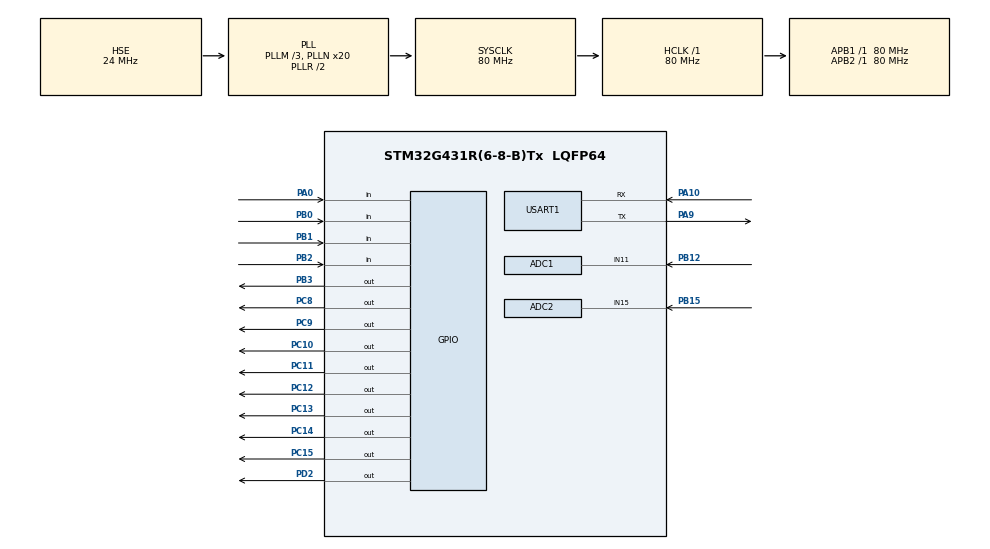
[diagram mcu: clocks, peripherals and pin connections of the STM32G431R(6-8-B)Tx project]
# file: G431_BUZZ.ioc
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ADC1.Channel-0\#ChannelRegularConversion=ADC_CHANNEL_11
ADC1.NbrOfConversionFlag=1
ADC1.OffsetNumber-0\#ChannelRegularConversion=ADC_OFFSET_NONE
ADC1.Rank-0\#ChannelRegularConversion=1
ADC1.SamplingTime-0\#ChannelRegularConversion=ADC_SAMPLETIME_640CYCLES_5
ADC1.master=1
ADC2.Channel-0\#ChannelRegularConversion=ADC_CHANNEL_15
ADC2.NbrOfConversionFlag=1
ADC2.OffsetNumber-0\#ChannelRegularConversion=ADC_OFFSET_NONE
ADC2.Rank-0\#ChannelRegularConversion=1
ADC2.SamplingTime-0\#ChannelRegularConversion=ADC_SAMPLETIME_640CYCLES_5
Mcu.Family=STM32G4
Mcu.Name=STM32G431R(6-8-B)Tx
Mcu.Package=LQFP64
NVIC.PriorityGroup=NVIC_PRIORITYGROUP_4
NVIC.TIM6_DAC_IRQn=true\:0\:0\:false\:false\:true\:false\:true\:true
PA0.Signal=GPIO_Input
PA10.Mode=Asynchronous
PA10.Signal=USART1_RX
PA13.Mode=Serial_Wire
PA13.Signal=SYS_JTMS-SWDIO
PA14.Mode=Serial_Wire
PA14.Signal=SYS_JTCK-SWCLK
PA9.Mode=Asynchronous
PA9.Signal=USART1_TX
PB0.Signal=GPIO_Input
PB1.Signal=GPIO_Input
PB12.Mode=IN11-Single-Ended
PB12.Signal=ADC1_IN11
PB15.Mode=IN15-Single-Ended
PB15.Signal=ADC2_IN15
PB2.Signal=GPIO_Input
PB3.PinState=GPIO_PIN_SET
PB3.Signal=GPIO_Output
PC10.PinState=GPIO_PIN_SET
PC10.Signal=GPIO_Output
PC11.PinState=GPIO_PIN_SET
PC11.Signal=GPIO_Output
PC12.PinState=GPIO_PIN_SET
PC12.Signal=GPIO_Output
PC13.PinState=GPIO_PIN_SET
PC13.Signal=GPIO_Output
PC14-OSC32_IN.PinState=GPIO_PIN_SET
PC14-OSC32_IN.Signal=GPIO_Output
PC15-OSC32_OUT.PinState=GPIO_PIN_SET
PC15-OSC32_OUT.Signal=GPIO_Output
PC8.PinState=GPIO_PIN_SET
PC8.Signal=GPIO_Output
PC9.PinState=GPIO_PIN_SET
PC9.Signal=GPIO_Output
PD2.PinState=GPIO_PIN_SET
PD2.Signal=GPIO_Output
PF0-OSC_IN.Mode=HSE-External-Oscillator
PF0-OSC_IN.Signal=RCC_OSC_IN
PF1-OSC_OUT.Mode=HSE-External-Oscillator
PF1-OSC_OUT.Signal=RCC_OSC_OUT
ProjectManager.HeapSize=0x200
ProjectManager.StackSize=0x400
ProjectManager.TargetToolchain=MDK-ARM V5
RCC.ADC12Freq_Value=80000000
RCC.AHBFreq_Value=80000000
RCC.APB1Freq_Value=80000000
RCC.APB1TimFreq_Value=80000000
RCC.APB2Freq_Value=80000000
RCC.APB2TimFreq_Value=80000000
RCC.CortexFreq_Value=80000000
RCC.EXTERNAL_CLOCK_VALUE=12288000
RCC.HCLKFreq_Value=80000000
RCC.HSE_VALUE=24000000
RCC.HSI48_VALUE=48000000
RCC.HSI_VALUE=16000000
RCC.LSE_VALUE=32768
RCC.PLLM=RCC_PLLM_DIV3
RCC.PLLN=20
RCC.PLLSourceVirtual=RCC_PLLSOURCE_HSE
RCC.SYSCLKFreq_VALUE=80000000
RCC.SYSCLKSource=RCC_SYSCLKSOURCE_PLLCLK
RCC.USBFreq_Value=80000000
RCC.VCOOutputFreq_Value=160000000
RealThread.RT-Thread.3.1.5.RTOSJjkernel=true
RealThread.RT-Thread.3.1.5.RTOSJjshell=true
TIM6.PeriodNoDither=10000-1
TIM6.Prescaler=80-1
USART1.VirtualMode-Asynchronous=VM_ASYNC
VP_RealThread.RT-Thread_VS_RTOSJjkernel_3.1.5_3.1.5.Mode=RTOSJjkernel
VP_RealThread.RT-Thread_VS_RTOSJjshell_3.1.5_3.1.5.Mode=RTOSJjshell
VP_SYS_VS_DBSignals.Mode=DisableDeadBatterySignals
VP_TIM6_VS_ClockSourceINT.Mode=Enable_Timer
board=custom

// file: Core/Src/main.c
/* USER CODE BEGIN Header */
/**
  ******************************************************************************
  * @file           : main.c
  * @brief          : Main program body
  ******************************************************************************
  * @attention
  *
  * <h2><center>&copy; Copyright (c) 2022 STMicroelectronics.
  * All rights reserved.</center></h2>
  *
  * This software component is licensed by ST under BSD 3-Clause license,
  * the "License"; You may not use this file except in compliance with the
  * License. You may obtain a copy of the License at:
  *                        opensource.org/licenses/BSD-3-Clause
  *
  ******************************************************************************
  */
/* USER CODE END Header */
#include "main.h"
#include "adc.h"
#include "tim.h"
#include "usart.h"
#include "gpio.h"

/* USER CODE BEGIN Includes */
#include "rtthread.h"
/* USER CODE END Includes */

/* USER CODE BEGIN PTD */
typedef enum
{
	KEY_UP = 0,//按键抬起
	KEY_DEBOUNCE,//按键消抖
	KEY_WAIT_RELEASE//按键等待释放
}KEY_STATE;

/* 定义线程控制块 */
static rt_thread_t key_thread = RT_NULL;
static rt_thread_t KeyScan_thread = RT_NULL;
//定义事件控制块
static rt_event_t key_event = RT_NULL;
#define key1_event (0x01 << 1)
#define key2_event (0x01 << 2)
#define key3_event (0x01 << 3)

static void key_thread_entry(void *parameter);
static void KeyScan_thread_entry(void *parameter);

/* USER CODE END PTD */

/* USER CODE BEGIN PD */
// GPIO输入输出宏定义
#define B1 HAL_GPIO_ReadPin(GPIOB, GPIO_PIN_0)
#define B2 HAL_GPIO_ReadPin(GPIOB, GPIO_PIN_1)
#define B3 HAL_GPIO_ReadPin(GPIOB, GPIO_PIN_2)
#define B4 HAL_GPIO_ReadPin(GPIOA, GPIO_PIN_0)

#define BUZZ_ON HAL_GPIO_WritePin(GPIOB, GPIO_PIN_3, GPIO_PIN_RESET)
#define BUZZ_OFF HAL_GPIO_WritePin(GPIOB, GPIO_PIN_3, GPIO_PIN_SET)

#define LED1_ON HAL_GPIO_WritePin(GPIOC, GPIO_PIN_8, GPIO_PIN_RESET);
#define LED1_OFF HAL_GPIO_WritePin(GPIOC, GPIO_PIN_8, GPIO_PIN_SET);

/* USER CODE END PD */

/* USER CODE BEGIN PV */

uint8_t KEY_Value=0; //按键值
KEY_STATE KeyState=KEY_UP;  //按键状态指示变量，初值为按键抬起状态
volatile uint8_t KeyFlag=0;  //按键有效标志，0：无效；1：有效
uint32_t KEY_PressTime=20;

/* USER CODE END PV */

void SystemClock_Config(void);
/* USER CODE BEGIN PFP */
void KeyScan(void);

/* USER CODE END PFP */

/* USER CODE BEGIN 0 */
uint16_t getADC_R37(void)
{
	uint16_t adc = 0;

	HAL_ADC_Start(&hadc2);
	HAL_ADC_PollForConversion(&hadc2,2);
	adc = HAL_ADC_GetValue(&hadc2);
	HAL_ADC_Stop(&hadc2);

	return adc;
}

uint16_t getADC_R38(void)
{
	uint16_t adc = 0;

	HAL_ADC_Start(&hadc1);
	HAL_ADC_PollForConversion(&hadc1,2);
	adc = HAL_ADC_GetValue(&hadc1);
	HAL_ADC_Stop(&hadc1);

	return adc;
}

/* USER CODE END 0 */

int main(void)
{

  MX_GPIO_Init();
  MX_TIM6_Init();
  MX_USART1_UART_Init();
  MX_ADC1_Init();
  MX_ADC2_Init();

	HAL_TIM_Base_Start_IT(&htim6);

}

int event_sample(void)
{
	rt_kprintf("这是一个RTT-按键事件标志组同步实验！\n");
	rt_kprintf("利用事件标记按键事件的发生！\n");

	rt_kprintf("准备创建按键事件！\n");
	key_event = rt_event_create("key_event", RT_IPC_FLAG_FIFO);

	if (key_event != RT_NULL)
	{
		rt_kprintf("按键事件创建成功！\n");
	}

		   key_thread =                          /* 线程控制块指针 */
			rt_thread_create( "key_thread",              /* 线程名字 */
							  key_thread_entry,   /* 线程入口函数 */
							  RT_NULL,             /* 线程入口函数参数 */
							  256,                 /* 线程栈大小 */
							  3,                   /* 线程的优先级 */
							  20);                 /* 线程时间片 */

    /* 启动线程，开启调度 */
	if (key_thread != RT_NULL)
		rt_thread_startup(key_thread);
	else
		return -1;

		   KeyScan_thread =                          /* 线程控制块指针 */
		rt_thread_create( "KeyScan_thread",              /* 线程名字 */
						  KeyScan_thread_entry,   /* 线程入口函数 */
						  RT_NULL,             /* 线程入口函数参数 */
						  256,                 /* 线程栈大小 */
						  2,                   /* 线程的优先级 */
						  20);                 /* 线程时间片 */

    /* 启动线程，开启调度 */
	if (KeyScan_thread != RT_NULL)
		rt_thread_startup(KeyScan_thread);
	else
		return -1;

}
MSH_CMD_EXPORT(event_sample, key event sample);

void SystemClock_Config(void)
{
  RCC_OscInitTypeDef RCC_OscInitStruct = {0};
  RCC_ClkInitTypeDef RCC_ClkInitStruct = {0};
  RCC_PeriphCLKInitTypeDef PeriphClkInit = {0};

  /** Configure the main internal regulator output voltage
  */
  HAL_PWREx_ControlVoltageScaling(PWR_REGULATOR_VOLTAGE_SCALE1);
  /** Initializes the RCC Oscillators according to the specified parameters
  * in the RCC_OscInitTypeDef structure.
  */
  RCC_OscInitStruct.OscillatorType = RCC_OSCILLATORTYPE_HSE;
  RCC_OscInitStruct.HSEState = RCC_HSE_ON;
  RCC_OscInitStruct.PLL.PLLState = RCC_PLL_ON;
  RCC_OscInitStruct.PLL.PLLSource = RCC_PLLSOURCE_HSE;
  RCC_OscInitStruct.PLL.PLLM = RCC_PLLM_DIV3;
  RCC_OscInitStruct.PLL.PLLN = 20;
  RCC_OscInitStruct.PLL.PLLP = RCC_PLLP_DIV2;
  RCC_OscInitStruct.PLL.PLLQ = RCC_PLLQ_DIV2;
  RCC_OscInitStruct.PLL.PLLR = RCC_PLLR_DIV2;
  if (HAL_RCC_OscConfig(&RCC_OscInitStruct) != HAL_OK)
  {
    Error_Handler();
  }
  /** Initializes the CPU, AHB and APB buses clocks
  */
  RCC_ClkInitStruct.ClockType = RCC_CLOCKTYPE_HCLK|RCC_CLOCKTYPE_SYSCLK
                              |RCC_CLOCKTYPE_PCLK1|RCC_CLOCKTYPE_PCLK2;
  RCC_ClkInitStruct.SYSCLKSource = RCC_SYSCLKSOURCE_PLLCLK;
  RCC_ClkInitStruct.AHBCLKDivider = RCC_SYSCLK_DIV1;
  RCC_ClkInitStruct.APB1CLKDivider = RCC_HCLK_DIV1;
  RCC_ClkInitStruct.APB2CLKDivider = RCC_HCLK_DIV1;

  if (HAL_RCC_ClockConfig(&RCC_ClkInitStruct, FLASH_LATENCY_2) != HAL_OK)
  {
    Error_Handler();
  }
  /** Initializes the peripherals clocks
  */
  PeriphClkInit.PeriphClockSelection = RCC_PERIPHCLK_USART1|RCC_PERIPHCLK_ADC12;
  PeriphClkInit.Usart1ClockSelection = RCC_USART1CLKSOURCE_PCLK2;
  PeriphClkInit.Adc12ClockSelection = RCC_ADC12CLKSOURCE_SYSCLK;
  if (HAL_RCCEx_PeriphCLKConfig(&PeriphClkInit) != HAL_OK)
  {
    Error_Handler();
  }
}

/* USER CODE BEGIN 4 */

static void key_thread_entry(void *parameter)
{
	rt_uint32_t recved;

	while(1)
	{
		rt_event_recv(key_event, key1_event|key2_event,
						RT_EVENT_FLAG_OR|RT_EVENT_FLAG_CLEAR, RT_WAITING_FOREVER, &recved);
		rt_kprintf("获取事件\n");
		if(recved == key1_event)
		{
			rt_kprintf("按键1按下，获取按键1事件成功！\n 翻转LED1的电平\n");
			HAL_GPIO_TogglePin(GPIOC, GPIO_PIN_8);
		}
		else if(recved == key2_event)
		{
			rt_kprintf("按键2按下，获取按键2事件成功！\n 翻转LED3的电平\n");
			HAL_GPIO_TogglePin(GPIOC, GPIO_PIN_10);
		}
		else
		{
			rt_kprintf("事件错误！\n");
		}
		rt_thread_delay(20);
	}
}

static void KeyScan_thread_entry(void *parameter)
{
	while(1)
	{
		switch(KeyState)
		{
			case KEY_UP: //按键抬起状态
			{
				//读到低电平，转换到按键消抖状态
				if((B1==GPIO_PIN_RESET)||(B2==GPIO_PIN_RESET)||(B3==GPIO_PIN_RESET)||(B4==GPIO_PIN_RESET))
				{
					KeyState= KEY_DEBOUNCE;
				}
				break;
			}

			case KEY_DEBOUNCE: //按键消抖状态
			{
				// 读到低电平，转换到按键等待等待释放状态，并设置按键有效标志
				if ((B1==GPIO_PIN_RESET)||(B2==GPIO_PIN_RESET)||(B3==GPIO_PIN_RESET)||(B4==GPIO_PIN_RESET))
				{
					KeyState = KEY_WAIT_RELEASE;

					if (B1==GPIO_PIN_RESET) rt_event_send(key_event, key1_event);
					else if (B2==GPIO_PIN_RESET) rt_event_send(key_event, key2_event);
//					else if (B3==GPIO_PIN_RESET) rt_event_send(key_event, key3_event);
//					else if (B4==GPIO_PIN_RESET) KEY_Value=4;

				}
				//读到高电平，表明是干扰信号，转换到按键抬起状态
				else
				{
					KeyState = KEY_UP;
				}

				break;
			}
			case KEY_WAIT_RELEASE: //按键等待释放状态
			{

				//读到低电平，说明按键仍然处于按下的状态，按键时间增加10ms
				if((B1==GPIO_PIN_RESET)||(B2==GPIO_PIN_RESET)||(B3==GPIO_PIN_RESET)||(B4==GPIO_PIN_RESET))
				{
					KEY_PressTime = KEY_PressTime +10;
				}
				//读到高电平，说明按键释放，转换到按键抬起状态
				else
				{
					KeyState = KEY_UP;
//					rt_sem_release(KeyFlag_sem);
				}
				break;

			}
			default: break;
		}
		rt_thread_delay(20);
	}
}

/* USER CODE END 4 */

void Error_Handler(void)
{
  __disable_irq();
  while (1)
  {
  }
}

/************************ (C) COPYRIGHT STMicroelectronics *****END OF FILE****/
